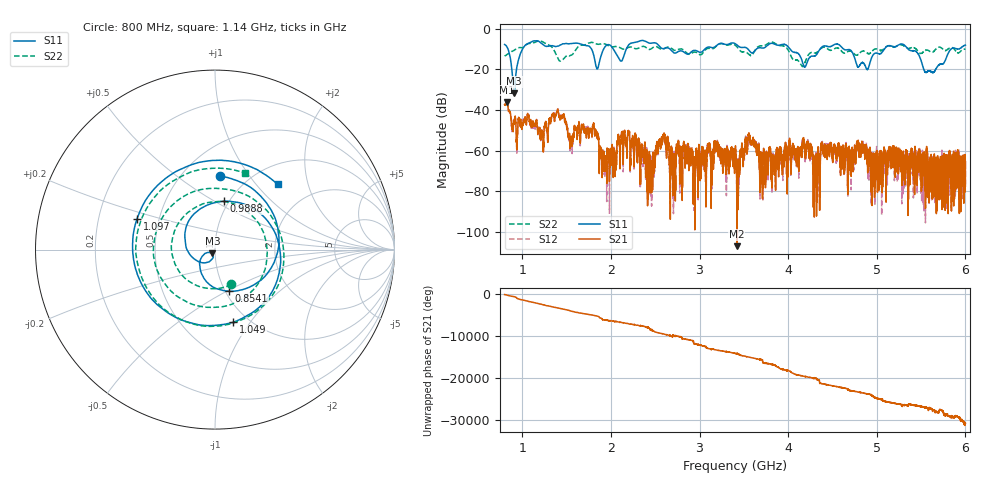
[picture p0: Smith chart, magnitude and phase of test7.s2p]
!Keysight Technologies N9923A: A.08.15
!Date: Friday, 16 February 2024 23:07:25
!Timezone: (GMT-05:00) Eastern Time (US & Canada)
!Model: N9923A
!Serial: MY52412730
!GPS Latitude:
!GPS Longitude:
!GPS TimeStamp: 0001-01-01 00:00:00Z
!GPS Seconds Since Last Read: 0
!CHECKSUM:0541285042
!Correction: S11(ON Q)S21(ON Q)S12(ON Q)S22(ON Q)
!S2P File: Measurements:S11,S21,S12,S22:
# Hz S DB R 50
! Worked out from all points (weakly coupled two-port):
!   10001 points, 800 MHz to 6 GHz, reference 50 ohm
!   highest |S21| = -36.06 dB at 821.8 MHz (marker M1); lowest = -106.9 dB at 3.422 GHz (marker M2)
!   lowest |S11| = -31.8 dB at 908.7 MHz (marker M3), VSWR 1.05, Z = 48.6 - j2.1 ohm
!   |S11| at or under -10 dB: 2.667 GHz to 3.06 GHz (393.3 MHz wide, 13.7 % of centre); 4.626 GHz to 5.086 GHz (459.8 MHz wide, 9.47 % of centre); 5.354 GHz to 5.838 GHz (484.3 MHz wide, 8.66 % of centre) (the widest 3 of 16)
!   |S22| runs from -18.6 to -5.9 dB; largest |S21 - S12| = 0.0012
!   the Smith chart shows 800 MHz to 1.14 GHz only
!   S11 on the Smith chart (normalised r, x): 800 MHz: 0.75, +0.74; 854.1 MHz: 1.04, -0.51; 988.8 MHz: 0.95, +0.56; 1.049 GHz: 0.85, -0.83; 1.097 GHz: 0.37, +0.17; 1.14 GHz: 1.35, +1.31
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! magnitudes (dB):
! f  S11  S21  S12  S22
! 800 MHz  -7.7  -37.3  -37.3  -13.4
! 821.8 MHz  -8.6  -36.1  -36.1  -12.9
! 854.1 MHz  -12.2  -40.1  -40.1  -12.0
! 908.7 MHz  -31.8  -46.8  -46.5  -10.5
! 988.8 MHz  -11.2  -46.6  -46.1  -9.3
! 1.049 GHz  -7.6  -45.4  -45.1  -7.7
! 1.097 GHz  -6.6  -47.0  -46.8  -7.1
! 1.14 GHz  -5.9  -47.1  -47.9  -6.8
! 1.667 GHz  -7.7  -47.7  -47.9  -8.1
! 1.845 GHz  -19.8  -50.9  -51.5  -7.6
! 1.927 GHz  -9.2  -66.6  -69.6  -7.4
! 2.137 GHz  -14.5  -64.6  -66.2  -10.0
! 2.435 GHz  -7.1  -61.7  -63.3  -10.2
! 2.534 GHz  -7.9  -58.9  -58.3  -9.3
! 3.4 GHz  -7.3  -63.6  -62.4  -8.0
! 3.422 GHz  -8.0  -106.9  -83.4  -8.9
! 3.571 GHz  -11.3  -54.8  -54.9  -13.0
! 3.699 GHz  -9.5  -62.4  -67.5  -8.4
! 4.267 GHz  -13.5  -61.2  -61.5  -11.7
! 5.134 GHz  -8.3  -67.3  -61.8  -8.3
! 5.628 GHz  -21.5  -75.4  -71.5  -11.6
! 6 GHz  -8.1  -77.4  -66.4  -10.1
